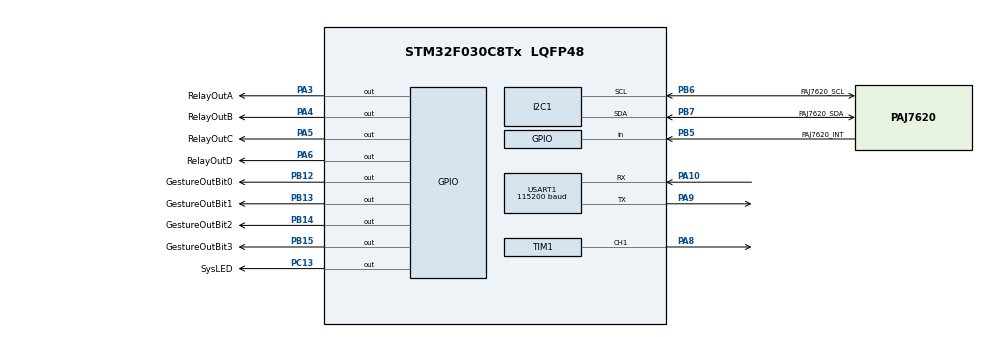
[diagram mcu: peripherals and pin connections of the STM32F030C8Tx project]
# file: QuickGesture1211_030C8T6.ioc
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Mcu.Family=STM32F0
Mcu.Name=STM32F030C8Tx
Mcu.Package=LQFP48
NVIC.I2C1_IRQn=true\:0\:0\:false\:false\:true\:true
NVIC.USART1_IRQn=true\:0\:0\:false\:false\:true\:true
PA10.Mode=Asynchronous
PA10.Signal=USART1_RX
PA13.Mode=Serial_Wire
PA13.Signal=SYS_SWDIO
PA14.Mode=Serial_Wire
PA14.Signal=SYS_SWCLK
PA3.GPIO_Label=RelayOutA
PA3.GPIO_ModeDefaultOutputPP=GPIO_MODE_OUTPUT_PP
PA3.GPIO_PuPd=GPIO_PULLUP
PA3.GPIO_Speed=GPIO_SPEED_FREQ_HIGH
PA3.PinState=GPIO_PIN_RESET
PA3.Signal=GPIO_Output
PA4.GPIO_Label=RelayOutB
PA4.GPIO_ModeDefaultOutputPP=GPIO_MODE_OUTPUT_PP
PA4.GPIO_PuPd=GPIO_PULLUP
PA4.GPIO_Speed=GPIO_SPEED_FREQ_HIGH
PA4.PinState=GPIO_PIN_RESET
PA4.Signal=GPIO_Output
PA5.GPIO_Label=RelayOutC
PA5.GPIO_ModeDefaultOutputPP=GPIO_MODE_OUTPUT_PP
PA5.GPIO_PuPd=GPIO_PULLUP
PA5.GPIO_Speed=GPIO_SPEED_FREQ_HIGH
PA5.PinState=GPIO_PIN_RESET
PA5.Signal=GPIO_Output
PA6.GPIO_Label=RelayOutD
PA6.GPIO_ModeDefaultOutputPP=GPIO_MODE_OUTPUT_PP
PA6.GPIO_PuPd=GPIO_PULLUP
PA6.GPIO_Speed=GPIO_SPEED_FREQ_HIGH
PA6.PinState=GPIO_PIN_RESET
PA6.Signal=GPIO_Output
PA8.Signal=S_TIM1_CH1
PA9.Mode=Asynchronous
PA9.Signal=USART1_TX
PB12.GPIO_Label=GestureOutBit0
PB12.GPIO_ModeDefaultOutputPP=GPIO_MODE_OUTPUT_PP
PB12.GPIO_PuPd=GPIO_PULLUP
PB12.GPIO_Speed=GPIO_SPEED_FREQ_HIGH
PB12.PinState=GPIO_PIN_SET
PB12.Signal=GPIO_Output
PB13.GPIO_Label=GestureOutBit1
PB13.GPIO_ModeDefaultOutputPP=GPIO_MODE_OUTPUT_PP
PB13.GPIO_PuPd=GPIO_PULLUP
PB13.GPIO_Speed=GPIO_SPEED_FREQ_HIGH
PB13.PinState=GPIO_PIN_SET
PB13.Signal=GPIO_Output
PB14.GPIO_Label=GestureOutBit2
PB14.GPIO_ModeDefaultOutputPP=GPIO_MODE_OUTPUT_PP
PB14.GPIO_PuPd=GPIO_PULLUP
PB14.GPIO_Speed=GPIO_SPEED_FREQ_HIGH
PB14.PinState=GPIO_PIN_SET
PB14.Signal=GPIO_Output
PB15.GPIO_Label=GestureOutBit3
PB15.GPIO_ModeDefaultOutputPP=GPIO_MODE_OUTPUT_PP
PB15.GPIO_PuPd=GPIO_PULLUP
PB15.GPIO_Speed=GPIO_SPEED_FREQ_HIGH
PB15.PinState=GPIO_PIN_SET
PB15.Signal=GPIO_Output
PB5.GPIO_Label=PAJ7620_INT
PB5.Signal=GPIO_Input
PB6.GPIO_Label=PAJ7620_SCL
PB6.Mode=I2C
PB6.Signal=I2C1_SCL
PB7.GPIO_Label=PAJ7620_SDA
PB7.Mode=I2C
PB7.Signal=I2C1_SDA
PC13.GPIO_Label=SysLED
PC13.GPIO_ModeDefaultOutputPP=GPIO_MODE_OUTPUT_PP
PC13.GPIO_PuPd=GPIO_PULLUP
PC13.PinState=GPIO_PIN_RESET
PC13.Signal=GPIO_Output
ProjectManager.HeapSize=0x200
ProjectManager.StackSize=0x400
ProjectManager.TargetToolchain=MDK-ARM V5
SH.S_TIM1_CH1.0=TIM1_CH1,PWM Generation1 CH1
TIM1.Channel-PWM\ Generation1\ CH1=TIM_CHANNEL_1
TIM1.Period=200
TIM1.Prescaler=24
USART1.BaudRate=115200
USART1.VirtualMode-Asynchronous=VM_ASYNC
board=QuickGesture1211_030C8T6

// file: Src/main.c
/**
 ******************************************************************************
 * File Name          : main.c
 * Description        : Main program body
 ******************************************************************************
 ** This notice applies to any and all portions of this file
 * that are not between comment pairs USER CODE BEGIN and
 * USER CODE END. Other portions of this file, whether
 * inserted by the user or by software development tools
 * are owned by their respective copyright owners.
 *
 * COPYRIGHT(c) 2017 STMicroelectronics
 *
 * Redistribution and use in source and binary forms, with or without modification,
 * are permitted provided that the following conditions are met:
 *   1. Redistributions of source code must retain the above copyright notice,
 *      this list of conditions and the following disclaimer.
 *   2. Redistributions in binary form must reproduce the above copyright notice,
 *      this list of conditions and the following disclaimer in the documentation
 *      and/or other materials provided with the distribution.
 *   3. Neither the name of STMicroelectronics nor the names of its contributors
 *      may be used to endorse or promote products derived from this software
 *      without specific prior written permission.
 *
 * THIS SOFTWARE IS PROVIDED BY THE COPYRIGHT HOLDERS AND CONTRIBUTORS "AS IS"
 * AND ANY EXPRESS OR IMPLIED WARRANTIES, INCLUDING, BUT NOT LIMITED TO, THE
 * IMPLIED WARRANTIES OF MERCHANTABILITY AND FITNESS FOR A PARTICULAR PURPOSE ARE
 * DISCLAIMED. IN NO EVENT SHALL THE COPYRIGHT HOLDER OR CONTRIBUTORS BE LIABLE
 * FOR ANY DIRECT, INDIRECT, INCIDENTAL, SPECIAL, EXEMPLARY, OR CONSEQUENTIAL
 * DAMAGES (INCLUDING, BUT NOT LIMITED TO, PROCUREMENT OF SUBSTITUTE GOODS OR
 * SERVICES; LOSS OF USE, DATA, OR PROFITS; OR BUSINESS INTERRUPTION) HOWEVER
 * CAUSED AND ON ANY THEORY OF LIABILITY, WHETHER IN CONTRACT, STRICT LIABILITY,
 * OR TORT (INCLUDING NEGLIGENCE OR OTHERWISE) ARISING IN ANY WAY OUT OF THE USE
 * OF THIS SOFTWARE, EVEN IF ADVISED OF THE POSSIBILITY OF SUCH DAMAGE.
 *
 ******************************************************************************
 */

#include "main.h"
#include "stm32f0xx_hal.h"
#include "i2c.h"
#include "tim.h"
#include "usart.h"
#include "gpio.h"

/* USER CODE BEGIN Includes */
#include <stdio.h>
#include <string.h>
#include "PAJ7620.h"
#include "PAJ7620_user.h"
/* USER CODE END Includes */

/* USER CODE BEGIN PV */
/* Private variables ---------------------------------------------------------*/

/* USER CODE END PV */

void SystemClock_Config(void);

/* USER CODE BEGIN PFP */
/* Private function prototypes -----------------------------------------------*/

/* USER CODE END PFP */

/* USER CODE BEGIN 0 */
uint8_t UART1_INT_BUFF[1];
unsigned char UART_BUFF[10];
unsigned int UART_index;
char UART1_INT_Fetch = 0;
unsigned int OneSec;

/* USER CODE END 0 */

int main(void)
{

	/* MCU Configuration----------------------------------------------------------*/

	/* Reset of all peripherals, Initializes the Flash interface and the Systick. */
	HAL_Init();

	/* Configure the system clock */
	SystemClock_Config();

	/* Initialize all configured peripherals */
	MX_GPIO_Init();
	MX_USART1_UART_Init();
	MX_I2C1_Init();
	MX_TIM1_Init();

	/* USER CODE BEGIN 2 */
	__HAL_UART_ENABLE_IT(&huart1, UART_IT_RXNE);
	printf("************************************\r\n");
	printf("*                                  *\r\n");
	printf("*         GuickGesture V1.0        *\r\n");
	printf("*                                  *\r\n");
	printf("*    Build: %s %s   *\r\n", __TIME__, __DATE__);
	printf("*                                  *\r\n");

	HAL_TIM_PWM_Start(&htim1, TIM_CHANNEL_1);
	__HAL_TIM_SET_COMPARE(&htim1, TIM_CHANNEL_1, 0);

	GES.InitCounter = 3000;
	/* USER CODE END 2 */

	/* Infinite loop */
	while (1)
	{

		/* USER CODE BEGIN 3 */

		PAJ7620_Process();
		PAJ7620_USER_Process();
		if (OneSec == 0)
		{
			OneSec = 1000;
//			printf("OneSec\r\n");
		}
		if (UART1_INT_Fetch == 1)
		{
			UART1_INT_Fetch = 0;
			printf("RX:%s\r\n", UART_BUFF);
			memset(UART_BUFF, 0, sizeof(UART_BUFF));
		}

	}
	/* USER CODE END 3 */

}

/** System Clock Configuration
 */
void SystemClock_Config(void)
{

	RCC_OscInitTypeDef RCC_OscInitStruct;
	RCC_ClkInitTypeDef RCC_ClkInitStruct;
	RCC_PeriphCLKInitTypeDef PeriphClkInit;

	/**Initializes the CPU, AHB and APB busses clocks
	 */
	RCC_OscInitStruct.OscillatorType = RCC_OSCILLATORTYPE_HSI;
	RCC_OscInitStruct.HSIState = RCC_HSI_ON;
	RCC_OscInitStruct.HSICalibrationValue = 16;
	RCC_OscInitStruct.PLL.PLLState = RCC_PLL_NONE;
	if (HAL_RCC_OscConfig(&RCC_OscInitStruct) != HAL_OK)
	{
		_Error_Handler(__FILE__, __LINE__);
	}

	/**Initializes the CPU, AHB and APB busses clocks
	 */
	RCC_ClkInitStruct.ClockType = RCC_CLOCKTYPE_HCLK | RCC_CLOCKTYPE_SYSCLK | RCC_CLOCKTYPE_PCLK1;
	RCC_ClkInitStruct.SYSCLKSource = RCC_SYSCLKSOURCE_HSI;
	RCC_ClkInitStruct.AHBCLKDivider = RCC_SYSCLK_DIV1;
	RCC_ClkInitStruct.APB1CLKDivider = RCC_HCLK_DIV1;

	if (HAL_RCC_ClockConfig(&RCC_ClkInitStruct, FLASH_LATENCY_0) != HAL_OK)
	{
		_Error_Handler(__FILE__, __LINE__);
	}

	PeriphClkInit.PeriphClockSelection = RCC_PERIPHCLK_USART1 | RCC_PERIPHCLK_I2C1;
	PeriphClkInit.Usart1ClockSelection = RCC_USART1CLKSOURCE_PCLK1;
	PeriphClkInit.I2c1ClockSelection = RCC_I2C1CLKSOURCE_HSI;
	if (HAL_RCCEx_PeriphCLKConfig(&PeriphClkInit) != HAL_OK)
	{
		_Error_Handler(__FILE__, __LINE__);
	}

	/**Configure the Systick interrupt time
	 */
	HAL_SYSTICK_Config(HAL_RCC_GetHCLKFreq() / 1000);

	/**Configure the Systick
	 */
	HAL_SYSTICK_CLKSourceConfig(SYSTICK_CLKSOURCE_HCLK);

	/* SysTick_IRQn interrupt configuration */
	HAL_NVIC_SetPriority(SysTick_IRQn, 0, 0);
}

/* USER CODE BEGIN 4 */

void HAL_SYSTICK_Callback(void)
{
	if (OneSec > 0) OneSec--;
	PAJ7620_Timer();
	PAJ7620_USER_Timer();

}
void HAL_UART_RxCpltCallback(UART_HandleTypeDef *huart)
{
	//UNUSED(huart);
	if (UART1_INT_BUFF[0] == '\n')
	{
		UART_index = 0;
		UART1_INT_Fetch = 1;
	}
	else
	{
		UART_BUFF[UART_index++] = UART1_INT_BUFF[0];
	}
}
/* USER CODE END 4 */

void _Error_Handler(char * file, int line)
{
	while (1)
	{
	}
}

/************************ (C) COPYRIGHT STMicroelectronics *****END OF FILE****/
